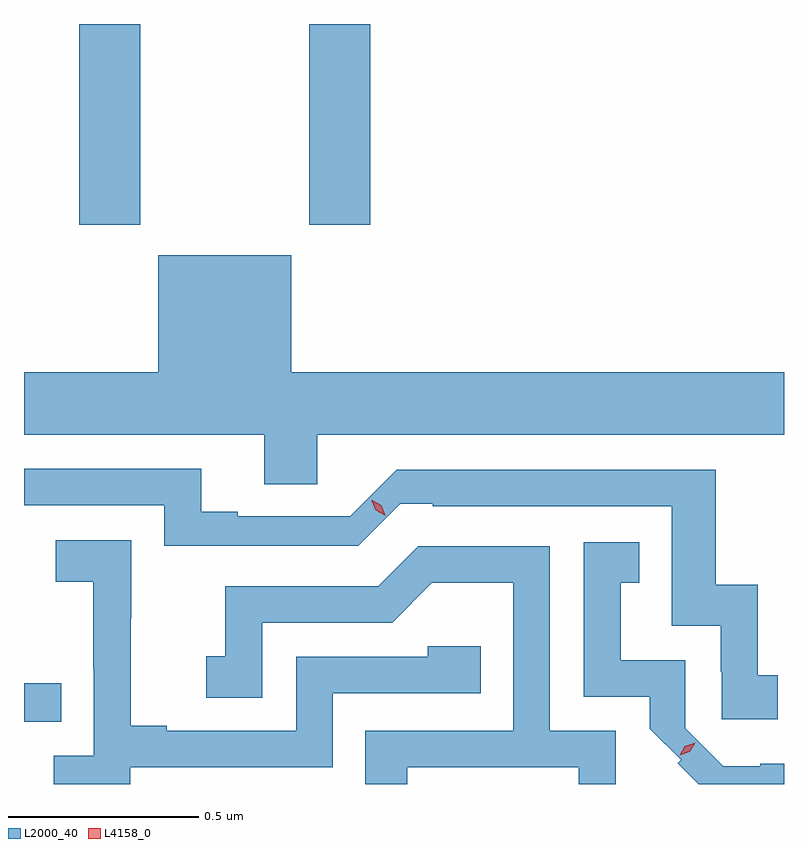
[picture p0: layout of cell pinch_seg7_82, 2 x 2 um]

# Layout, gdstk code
import gdstk
lib = gdstk.Library(unit=1e-6, precision=1e-09)
def R(c, l, rs):  # rectangles x0, y0, x1, y1
    for r in rs: c.add(gdstk.rectangle(r[:2], r[2:], *l))
def P(c, l, *ps):  # polygons
    for p in ps: c.add(gdstk.Polygon(p, *l))
L2000_40 = (2000, 40)
L4158_0 = (4158, 0)

pinch_seg7_82 = lib.new_cell('pinch_seg7_82')
R(pinch_seg7_82, L2000_40, [(920.919,1039.821,921.017,1039.922), (921.065,1041.129,921.225,1041.657), (921.67,1041.129,921.83,1041.657)])
P(pinch_seg7_82, L2000_40, [(921.691,1040.576),(922.919,1040.576),(922.919,1040.74),(921.622,1040.74),(921.622,1041.049),(921.272,1041.049),(921.272,1040.74),(920.919,1040.74),(920.919,1040.576),(921.551,1040.576),(921.551,1040.446),(921.691,1040.446)],
  [(922.903,1039.943),(922.85,1039.943),(922.85,1040.182),(922.739,1040.182),(922.739,1040.484),(921.9,1040.484),(921.777,1040.361),(921.481,1040.361),(921.481,1040.374),(921.385,1040.374),(921.385,1040.487),(920.919,1040.487),(920.919,1040.391),(921.288,1040.391),(921.288,1040.284),(921.799,1040.284),(921.909,1040.394),(921.994,1040.394),(921.994,1040.388),(922.623,1040.388),(922.623,1040.073),(922.752,1040.073),(922.752,1039.952),(922.755,1039.952),(922.755,1039.827),(922.903,1039.827)],
  [(921.198,1039.701),(921.732,1039.701),(921.732,1039.896),(922.121,1039.896),(922.121,1040.019),(921.981,1040.019),(921.981,1039.992),(921.636,1039.992),(921.636,1039.797),(921.295,1039.797),(921.295,1039.81),(921.2,1039.81),(921.2,1040.093),(921.201,1040.093),(921.201,1040.299),(921.003,1040.299),(921.003,1040.189),(921.101,1040.189),(921.101,1039.961),(921.102,1039.961),(921.102,1039.731),(920.997,1039.731),(920.997,1039.657),(921.198,1039.657)],
  [(922.919,1039.71),(922.856,1039.71),(922.856,1039.704),(922.759,1039.704),(922.659,1039.804),(922.659,1039.983),(922.489,1039.983),(922.489,1040.187),(922.538,1040.187),(922.538,1040.293),(922.392,1040.293),(922.392,1039.887),(922.566,1039.887),(922.566,1039.803),(922.649,1039.721),(922.639,1039.711),(922.694,1039.657),(922.919,1039.657)],
  [(921.928,1039.701),(922.379,1039.701),(922.379,1039.657),(922.476,1039.657),(922.476,1039.797),(922.302,1039.797),(922.302,1040.283),(921.956,1040.283),(921.851,1040.178),(921.448,1040.178),(921.448,1039.993),(921.399,1039.993),(921.399,1039.884),(921.546,1039.884),(921.546,1040.082),(921.888,1040.082),(921.992,1040.186),(922.206,1040.186),(922.206,1039.797),(921.817,1039.797),(921.817,1039.657),(921.928,1039.657)])
P(pinch_seg7_82, L4158_0, [(921.868,1040.364),(921.844,1040.377),(921.834,1040.403),(921.834,1040.404),(921.835,1040.404),(921.859,1040.39),(921.869,1040.364),(921.869,1040.364)],
  [(922.644,1039.733),(922.644,1039.733),(922.658,1039.757),(922.685,1039.766),(922.685,1039.766),(922.685,1039.766),(922.671,1039.742),(922.645,1039.733)])

lib.write_gds('pinch_seg7_82.gds')
